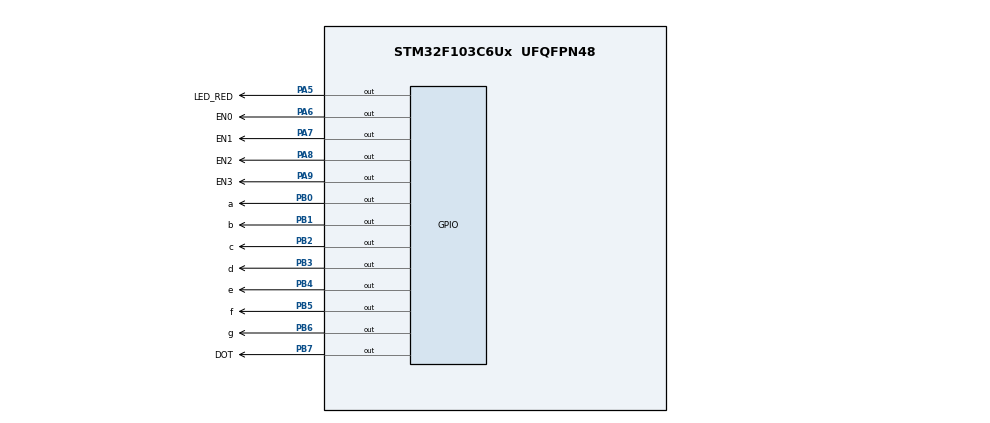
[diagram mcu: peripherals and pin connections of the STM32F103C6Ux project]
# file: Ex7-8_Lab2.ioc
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Mcu.Family=STM32F1
Mcu.Name=STM32F103C6Ux
Mcu.Package=UFQFPN48
NVIC.PriorityGroup=NVIC_PRIORITYGROUP_4
NVIC.TIM2_IRQn=true\:0\:0\:false\:false\:true\:true\:true
PA5.GPIO_Label=LED_RED
PA5.Signal=GPIO_Output
PA6.GPIO_Label=EN0
PA6.Signal=GPIO_Output
PA7.GPIO_Label=EN1
PA7.Signal=GPIO_Output
PA8.GPIO_Label=EN2
PA8.Signal=GPIO_Output
PA9.GPIO_Label=EN3
PA9.Signal=GPIO_Output
PB0.GPIO_Label=a
PB0.Signal=GPIO_Output
PB1.GPIO_Label=b
PB1.Signal=GPIO_Output
PB2.GPIO_Label=c
PB2.Signal=GPIO_Output
PB3.GPIO_Label=d
PB3.Signal=GPIO_Output
PB4.GPIO_Label=e
PB4.Signal=GPIO_Output
PB5.GPIO_Label=f
PB5.Signal=GPIO_Output
PB6.GPIO_Label=g
PB6.Signal=GPIO_Output
PB7.GPIO_Label=DOT
PB7.Signal=GPIO_Output
ProjectManager.HeapSize=0x200
ProjectManager.StackSize=0x400
ProjectManager.TargetToolchain=STM32CubeIDE
RCC.APB1Freq_Value=8000000
RCC.APB2Freq_Value=8000000
TIM2.Period=9
TIM2.Prescaler=7999
VP_SYS_VS_ND.Mode=No_Debug
VP_TIM2_VS_ClockSourceINT.Mode=Internal
board=custom

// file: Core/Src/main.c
/* USER CODE BEGIN Header */
/**
  ******************************************************************************
  * @file           : main.c
  * @brief          : Main program body
  ******************************************************************************
  * @attention
  *
  * <h2><center>&copy; Copyright (c) 2022 STMicroelectronics.
  * All rights reserved.</center></h2>
  *
  * This software component is licensed by ST under BSD 3-Clause license,
  * the "License"; You may not use this file except in compliance with the
  * License. You may obtain a copy of the License at:
  *                        opensource.org/licenses/BSD-3-Clause
  *
  ******************************************************************************
  */
/* USER CODE END Header */
#include "main.h"

/* USER CODE BEGIN Includes */
#include "software_timer.h"
/* USER CODE END Includes */

TIM_HandleTypeDef htim2;

void SystemClock_Config(void);
static void MX_GPIO_Init(void);
static void MX_TIM2_Init(void);

/* USER CODE BEGIN 0 */
void display7SEG(uint16_t Pin1, uint16_t Pin2, uint16_t Pin3, uint16_t Pin4, uint16_t Pin5, uint16_t Pin6, uint16_t Pin7,
				 GPIO_TypeDef* Port1, GPIO_TypeDef* Port2, GPIO_TypeDef* Port3, GPIO_TypeDef* Port4, GPIO_TypeDef* Port5, GPIO_TypeDef* Port6, GPIO_TypeDef* Port7,
				 int num) {
	switch(num) {
	case 0: //Number 0 is 0000001
		HAL_GPIO_WritePin(Port1, Pin1, RESET);
		HAL_GPIO_WritePin(Port2, Pin2, RESET);
		HAL_GPIO_WritePin(Port3, Pin3, RESET);
		HAL_GPIO_WritePin(Port4, Pin4, RESET);
		HAL_GPIO_WritePin(Port5, Pin5, RESET);
		HAL_GPIO_WritePin(Port6, Pin6, RESET);
		HAL_GPIO_WritePin(Port7, Pin7, SET);
		break;

	case 1: //Number 1 is 1001111
		HAL_GPIO_WritePin(Port1, Pin1, SET);
		HAL_GPIO_WritePin(Port2, Pin2, RESET);
		HAL_GPIO_WritePin(Port3, Pin3, RESET);
		HAL_GPIO_WritePin(Port4, Pin4, SET);
		HAL_GPIO_WritePin(Port5, Pin5, SET);
		HAL_GPIO_WritePin(Port6, Pin6, SET);
		HAL_GPIO_WritePin(Port7, Pin7, SET);
		break;

	case 2: //Number 2 is 0010010
		HAL_GPIO_WritePin(Port1, Pin1, RESET);
		HAL_GPIO_WritePin(Port2, Pin2, RESET);
		HAL_GPIO_WritePin(Port3, Pin3, SET);
		HAL_GPIO_WritePin(Port4, Pin4, RESET);
		HAL_GPIO_WritePin(Port5, Pin5, RESET);
		HAL_GPIO_WritePin(Port6, Pin6, SET);
		HAL_GPIO_WritePin(Port7, Pin7, RESET);
		break;

	case 3: //Number 3 is 0000110
		HAL_GPIO_WritePin(Port1, Pin1, RESET);
		HAL_GPIO_WritePin(Port2, Pin2, RESET);
		HAL_GPIO_WritePin(Port3, Pin3, RESET);
		HAL_GPIO_WritePin(Port4, Pin4, RESET);
		HAL_GPIO_WritePin(Port5, Pin5, SET);
		HAL_GPIO_WritePin(Port6, Pin6, SET);
		HAL_GPIO_WritePin(Port7, Pin7, RESET);
		break;

	case 4: //Number 4 is 1001100
		HAL_GPIO_WritePin(Port1, Pin1, SET);
		HAL_GPIO_WritePin(Port2, Pin2, RESET);
		HAL_GPIO_WritePin(Port3, Pin3, RESET);
		HAL_GPIO_WritePin(Port4, Pin4, SET);
		HAL_GPIO_WritePin(Port5, Pin5, SET);
		HAL_GPIO_WritePin(Port6, Pin6, RESET);
		HAL_GPIO_WritePin(Port7, Pin7, RESET);
		break;

	case 5: //Number 5 is 0100100
		HAL_GPIO_WritePin(Port1, Pin1, RESET);
		HAL_GPIO_WritePin(Port2, Pin2, SET);
		HAL_GPIO_WritePin(Port3, Pin3, RESET);
		HAL_GPIO_WritePin(Port4, Pin4, RESET);
		HAL_GPIO_WritePin(Port5, Pin5, SET);
		HAL_GPIO_WritePin(Port6, Pin6, RESET);
		HAL_GPIO_WritePin(Port7, Pin7, RESET);
		break;

	case 6: //Number 6 is 0100000
		HAL_GPIO_WritePin(Port1, Pin1, RESET);
		HAL_GPIO_WritePin(Port2, Pin2, SET);
		HAL_GPIO_WritePin(Port3, Pin3, RESET);
		HAL_GPIO_WritePin(Port4, Pin4, RESET);
		HAL_GPIO_WritePin(Port5, Pin5, RESET);
		HAL_GPIO_WritePin(Port6, Pin6, RESET);
		HAL_GPIO_WritePin(Port7, Pin7, RESET);
		break;

	case 7: //Number 7 is 0001111
		HAL_GPIO_WritePin(Port1, Pin1, RESET);
		HAL_GPIO_WritePin(Port2, Pin2, RESET);
		HAL_GPIO_WritePin(Port3, Pin3, RESET);
		HAL_GPIO_WritePin(Port4, Pin4, SET);
		HAL_GPIO_WritePin(Port5, Pin5, SET);
		HAL_GPIO_WritePin(Port6, Pin6, SET);
		HAL_GPIO_WritePin(Port7, Pin7, SET);
		break;

	case 8: //Number 8 is 0000000
		HAL_GPIO_WritePin(Port1, Pin1, RESET);
		HAL_GPIO_WritePin(Port2, Pin2, RESET);
		HAL_GPIO_WritePin(Port3, Pin3, RESET);
		HAL_GPIO_WritePin(Port4, Pin4, RESET);
		HAL_GPIO_WritePin(Port5, Pin5, RESET);
		HAL_GPIO_WritePin(Port6, Pin6, RESET);
		HAL_GPIO_WritePin(Port7, Pin7, RESET);
		break;

	case 9: //Number 9 is 0000100
		HAL_GPIO_WritePin(Port1, Pin1, RESET);
		HAL_GPIO_WritePin(Port2, Pin2, RESET);
		HAL_GPIO_WritePin(Port3, Pin3, RESET);
		HAL_GPIO_WritePin(Port4, Pin4, RESET);
		HAL_GPIO_WritePin(Port5, Pin5, SET);
		HAL_GPIO_WritePin(Port6, Pin6, RESET);
		HAL_GPIO_WritePin(Port7, Pin7, RESET);
		break;

	default: break;
	}
}

const int MAX_LED = 4;
int index_led = 0;
int led_buffer[4] = {1, 2, 3, 4};

void update7SEG(int index) {
	switch(index) {
	case 0:
		display7SEG(a_Pin, b_Pin, c_Pin, d_Pin, e_Pin, f_Pin, g_Pin,
				    a_GPIO_Port, b_GPIO_Port, c_GPIO_Port, d_GPIO_Port, e_GPIO_Port, f_GPIO_Port, g_GPIO_Port,
					led_buffer[index]);

		HAL_GPIO_WritePin(EN0_GPIO_Port, EN0_Pin, RESET);
		HAL_GPIO_WritePin(EN1_GPIO_Port, EN1_Pin, SET);
		HAL_GPIO_WritePin(EN2_GPIO_Port, EN2_Pin, SET);
		HAL_GPIO_WritePin(EN3_GPIO_Port, EN3_Pin, SET);

		break;
	case 1:
		display7SEG(a_Pin, b_Pin, c_Pin, d_Pin, e_Pin, f_Pin, g_Pin,
				    a_GPIO_Port, b_GPIO_Port, c_GPIO_Port, d_GPIO_Port, e_GPIO_Port, f_GPIO_Port, g_GPIO_Port,
					led_buffer[index]);

		HAL_GPIO_WritePin(EN0_GPIO_Port, EN0_Pin, SET);
		HAL_GPIO_WritePin(EN1_GPIO_Port, EN1_Pin, RESET);
		HAL_GPIO_WritePin(EN2_GPIO_Port, EN2_Pin, SET);
		HAL_GPIO_WritePin(EN3_GPIO_Port, EN3_Pin, SET);

		break;
	case 2:
		display7SEG(a_Pin, b_Pin, c_Pin, d_Pin, e_Pin, f_Pin, g_Pin,
				    a_GPIO_Port, b_GPIO_Port, c_GPIO_Port, d_GPIO_Port, e_GPIO_Port, f_GPIO_Port, g_GPIO_Port,
					led_buffer[index]);

		HAL_GPIO_WritePin(EN0_GPIO_Port, EN0_Pin, SET);
		HAL_GPIO_WritePin(EN1_GPIO_Port, EN1_Pin, SET);
		HAL_GPIO_WritePin(EN2_GPIO_Port, EN2_Pin, RESET);
		HAL_GPIO_WritePin(EN3_GPIO_Port, EN3_Pin, SET);

		break;
	case 3:
		display7SEG(a_Pin, b_Pin, c_Pin, d_Pin, e_Pin, f_Pin, g_Pin,
				    a_GPIO_Port, b_GPIO_Port, c_GPIO_Port, d_GPIO_Port, e_GPIO_Port, f_GPIO_Port, g_GPIO_Port,
					led_buffer[index]);

		HAL_GPIO_WritePin(EN0_GPIO_Port, EN0_Pin, SET);
		HAL_GPIO_WritePin(EN1_GPIO_Port, EN1_Pin, SET);
		HAL_GPIO_WritePin(EN2_GPIO_Port, EN2_Pin, SET);
		HAL_GPIO_WritePin(EN3_GPIO_Port, EN3_Pin, RESET);

		break;
	default:
		break;
	}
}

int hour = 15, minute = 8, second = 50;
void updateClockBuffer() {
	led_buffer[0] = hour / 10;
	led_buffer[1] = hour % 10;

	led_buffer[2] = minute / 10;
	led_buffer[3] = minute % 10;
}
/* USER CODE END 0 */

int main(void)
{

  /* MCU Configuration--------------------------------------------------------*/

  /* Reset of all peripherals, Initializes the Flash interface and the Systick. */
  HAL_Init();

  /* Configure the system clock */
  SystemClock_Config();

  /* Initialize all configured peripherals */
  MX_GPIO_Init();
  MX_TIM2_Init();
  /* USER CODE BEGIN 2 */
  HAL_TIM_Base_Start_IT(&htim2);
  /* USER CODE END 2 */

  /* Infinite loop */
  /* USER CODE BEGIN WHILE */

  /*
  * timer0_flag and setTimer0 is using to set timer for LED RED, switch every second
  * timer1_flag and setTimer1 is using to set timer for LED 7SEG, switch every 250ms
  * timer2_flag and setTimer2 is using to set timer for the colon, display every 500ms
  */

  //setTimer for first time timer_flag change to 1
  setTimer0(100); //timer for LED-RED, turn on every second
  setTimer1(100); //timer for 4 LED 7SEG, switch every 250ms
  setTimer2(100); //timer for colon, display every 500ms

  while (1)
  {
    /* USER CODE END WHILE */
	  if ( timer0_flag == 1) {
		  HAL_GPIO_TogglePin ( LED_RED_GPIO_Port, LED_RED_Pin ) ;
		  setTimer0 (1000) ;
		  second++;
		  if (second >= 60) {
			  second = 0;
			  minute++;
		  }

		  if (minute >= 60) {
			  minute = 0;
			  hour++;
		  }

		  if (hour >= 24) {
			  hour = 0;
		  }
		  updateClockBuffer();

	  }

	  if ( timer1_flag == 1) {
		  update7SEG(index_led++);
		  if (index_led >= 4) index_led = 0;
		  setTimer1(250);
	  }

	  if ( timer2_flag == 1) {
		  HAL_GPIO_TogglePin ( DOT_GPIO_Port, DOT_Pin ) ;
		  setTimer2 (500) ;
	  }
  }
}

void SystemClock_Config(void)
{
  RCC_OscInitTypeDef RCC_OscInitStruct = {0};
  RCC_ClkInitTypeDef RCC_ClkInitStruct = {0};

  /** Initializes the RCC Oscillators according to the specified parameters
  * in the RCC_OscInitTypeDef structure.
  */
  RCC_OscInitStruct.OscillatorType = RCC_OSCILLATORTYPE_HSI;
  RCC_OscInitStruct.HSIState = RCC_HSI_ON;
  RCC_OscInitStruct.HSICalibrationValue = RCC_HSICALIBRATION_DEFAULT;
  RCC_OscInitStruct.PLL.PLLState = RCC_PLL_NONE;
  if (HAL_RCC_OscConfig(&RCC_OscInitStruct) != HAL_OK)
  {
    Error_Handler();
  }
  /** Initializes the CPU, AHB and APB buses clocks
  */
  RCC_ClkInitStruct.ClockType = RCC_CLOCKTYPE_HCLK|RCC_CLOCKTYPE_SYSCLK
                              |RCC_CLOCKTYPE_PCLK1|RCC_CLOCKTYPE_PCLK2;
  RCC_ClkInitStruct.SYSCLKSource = RCC_SYSCLKSOURCE_HSI;
  RCC_ClkInitStruct.AHBCLKDivider = RCC_SYSCLK_DIV1;
  RCC_ClkInitStruct.APB1CLKDivider = RCC_HCLK_DIV1;
  RCC_ClkInitStruct.APB2CLKDivider = RCC_HCLK_DIV1;

  if (HAL_RCC_ClockConfig(&RCC_ClkInitStruct, FLASH_LATENCY_0) != HAL_OK)
  {
    Error_Handler();
  }
}

static void MX_TIM2_Init(void)
{

  TIM_ClockConfigTypeDef sClockSourceConfig = {0};
  TIM_MasterConfigTypeDef sMasterConfig = {0};

  htim2.Instance = TIM2;
  htim2.Init.Prescaler = 7999;
  htim2.Init.CounterMode = TIM_COUNTERMODE_UP;
  htim2.Init.Period = 9;
  htim2.Init.ClockDivision = TIM_CLOCKDIVISION_DIV1;
  htim2.Init.AutoReloadPreload = TIM_AUTORELOAD_PRELOAD_DISABLE;
  if (HAL_TIM_Base_Init(&htim2) != HAL_OK)
  {
    Error_Handler();
  }
  sClockSourceConfig.ClockSource = TIM_CLOCKSOURCE_INTERNAL;
  if (HAL_TIM_ConfigClockSource(&htim2, &sClockSourceConfig) != HAL_OK)
  {
    Error_Handler();
  }
  sMasterConfig.MasterOutputTrigger = TIM_TRGO_RESET;
  sMasterConfig.MasterSlaveMode = TIM_MASTERSLAVEMODE_DISABLE;
  if (HAL_TIMEx_MasterConfigSynchronization(&htim2, &sMasterConfig) != HAL_OK)
  {
    Error_Handler();
  }

}

static void MX_GPIO_Init(void)
{
  GPIO_InitTypeDef GPIO_InitStruct = {0};

  /* GPIO Ports Clock Enable */
  __HAL_RCC_GPIOA_CLK_ENABLE();
  __HAL_RCC_GPIOB_CLK_ENABLE();

  /*Configure GPIO pin Output Level */
  HAL_GPIO_WritePin(GPIOA, LED_RED_Pin|EN0_Pin|EN1_Pin|EN2_Pin
                          |EN3_Pin, GPIO_PIN_RESET);

  /*Configure GPIO pin Output Level */
  HAL_GPIO_WritePin(GPIOB, a_Pin|b_Pin|c_Pin|d_Pin
                          |e_Pin|f_Pin|g_Pin|DOT_Pin, GPIO_PIN_RESET);

  /*Configure GPIO pins : LED_RED_Pin EN0_Pin EN1_Pin EN2_Pin
                           EN3_Pin */
  GPIO_InitStruct.Pin = LED_RED_Pin|EN0_Pin|EN1_Pin|EN2_Pin
                          |EN3_Pin;
  GPIO_InitStruct.Mode = GPIO_MODE_OUTPUT_PP;
  GPIO_InitStruct.Pull = GPIO_NOPULL;
  GPIO_InitStruct.Speed = GPIO_SPEED_FREQ_LOW;
  HAL_GPIO_Init(GPIOA, &GPIO_InitStruct);

  /*Configure GPIO pins : a_Pin b_Pin c_Pin d_Pin
                           e_Pin f_Pin g_Pin DOT_Pin */
  GPIO_InitStruct.Pin = a_Pin|b_Pin|c_Pin|d_Pin
                          |e_Pin|f_Pin|g_Pin|DOT_Pin;
  GPIO_InitStruct.Mode = GPIO_MODE_OUTPUT_PP;
  GPIO_InitStruct.Pull = GPIO_NOPULL;
  GPIO_InitStruct.Speed = GPIO_SPEED_FREQ_LOW;
  HAL_GPIO_Init(GPIOB, &GPIO_InitStruct);

}

/* USER CODE BEGIN 4 */
void HAL_TIM_PeriodElapsedCallback(TIM_HandleTypeDef *htim) {
	timer_run();
}
/* USER CODE END 4 */

void Error_Handler(void)
{
  __disable_irq();
  while (1)
  {
  }
}

/************************ (C) COPYRIGHT STMicroelectronics *****END OF FILE****/
